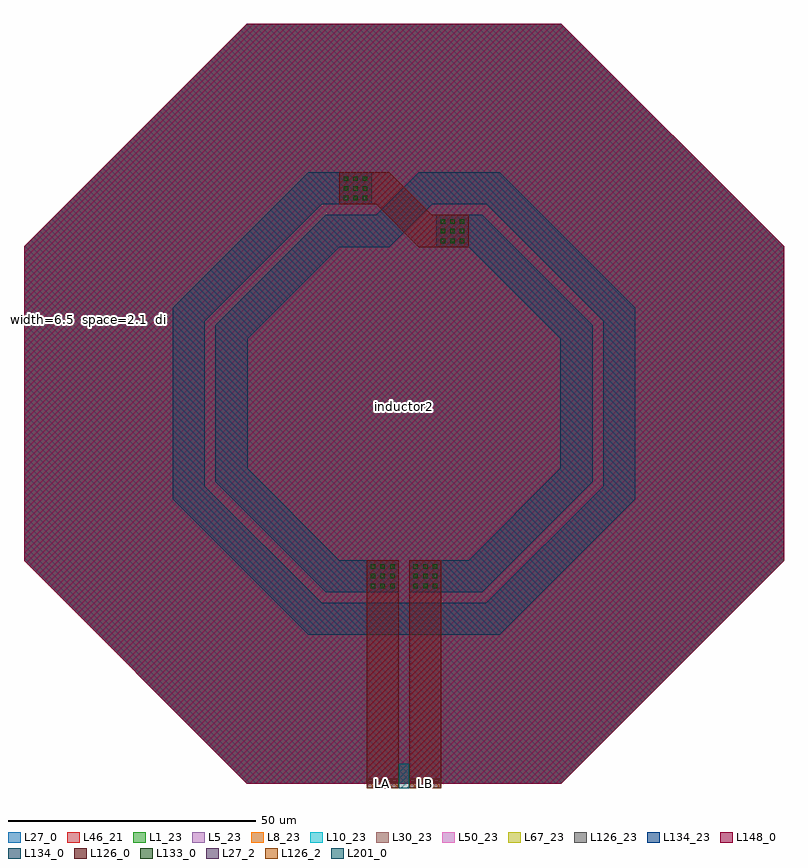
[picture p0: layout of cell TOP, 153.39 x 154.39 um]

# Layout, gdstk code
import gdstk
lib = gdstk.Library(unit=1e-6, precision=1e-09)
def R(c, l, rs):  # rectangles x0, y0, x1, y1
    for r in rs: c.add(gdstk.rectangle(r[:2], r[2:], *l))
def A(c, l, x, y, w, h, nx, ny, dx, dy):  # array of equal rectangles
    R(c, l, [(x+i*dx, y+j*dy, x+i*dx+w, y+j*dy+h) for i in range(nx) for j in range(ny)])
def P(c, l, *ps):  # polygons
    for p in ps: c.add(gdstk.Polygon(p, *l))
L1_23 = (1, 23)
L5_23 = (5, 23)
L8_23 = (8, 23)
L10_23 = (10, 23)
L27_0 = (27, 0)
L27_2 = (27, 2)
L30_23 = (30, 23)
L46_21 = (46, 21)
L50_23 = (50, 23)
L67_23 = (67, 23)
L126_0 = (126, 0)
L126_2 = (126, 2)
L126_23 = (126, 23)
L133_0 = (133, 0)
L134_0 = (134, 0)
L134_23 = (134, 23)
L148_0 = (148, 0)
L201_0 = (201, 0)

top = lib.new_cell('TOP')
P(top, L1_23, [(-32.015,-5.72),(-76.945,39.21),(-76.945,102.74),(-32.015,147.67),(31.515,147.67),(76.445,102.74),(76.445,39.21),(31.515,-5.72)])
P(top, L5_23, [(-32.015,-5.72),(-76.945,39.21),(-76.945,102.74),(-32.015,147.67),(31.515,147.67),(76.445,102.74),(76.445,39.21),(31.515,-5.72)])
P(top, L8_23, [(-32.015,-5.72),(-76.945,39.21),(-76.945,102.74),(-32.015,147.67),(31.515,147.67),(76.445,102.74),(76.445,39.21),(31.515,-5.72)])
P(top, L10_23, [(-32.015,-5.72),(-76.945,39.21),(-76.945,102.74),(-32.015,147.67),(31.515,147.67),(76.445,102.74),(76.445,39.21),(31.515,-5.72)])
P(top, L27_0, [(-32.015,-5.72),(-76.945,39.21),(-76.945,102.74),(-32.015,147.67),(31.515,147.67),(76.445,102.74),(76.445,39.21),(31.515,-5.72)])
R(top, L27_2, [(-7.8,-6.72,-1.3,-4.72), (0.8,-6.72,7.3,-4.72)])
P(top, L30_23, [(-32.015,-5.72),(-76.945,39.21),(-76.945,102.74),(-32.015,147.67),(31.515,147.67),(76.445,102.74),(76.445,39.21),(31.515,-5.72)])
P(top, L46_21, [(-32.015,-5.72),(-76.945,39.21),(-76.945,102.74),(-32.015,147.67),(31.515,147.67),(76.445,102.74),(76.445,39.21),(31.515,-5.72)])
P(top, L50_23, [(-32.015,-5.72),(-76.945,39.21),(-76.945,102.74),(-32.015,147.67),(31.515,147.67),(76.445,102.74),(76.445,39.21),(31.515,-5.72)])
P(top, L67_23, [(-32.015,-5.72),(-76.945,39.21),(-76.945,102.74),(-32.015,147.67),(31.515,147.67),(76.445,102.74),(76.445,39.21),(31.515,-5.72)])
P(top, L126_0, [(2.725,102.53),(-5.895,111.15),(-13.285,111.15),(-13.285,117.65),(-3.225,117.65),(5.395,109.03),(12.785,109.03),(12.785,102.53)])
R(top, L126_2, [(-7.8,-6.72,-1.3,-4.72), (0.8,-6.72,7.3,-4.72)])
P(top, L126_23, [(-32.015,-5.72),(-76.945,39.21),(-76.945,102.74),(-32.015,147.67),(31.515,147.67),(76.445,102.74),(76.445,39.21),(31.515,-5.72)])
A(top, L133_0, -6.96, 33.72, 0.9, 0.9, 3, 3, 1.96, 1.96)
A(top, L133_0, 1.64, 33.72, 0.9, 0.9, 3, 3, 1.96, 1.96)
A(top, L133_0, 7.125, 103.37, 0.9, 0.9, 3, 3, 1.96, 1.96)
A(top, L133_0, -12.445, 111.97, 0.9, 0.9, 3, 3, 1.96, 1.96)
R(top, L134_0, [(-6.785,24.28,6.285,30.78)])
P(top, L134_0, [(0.8,32.88),(0.8,39.38),(12.825,39.38),(31.325,57.88),(31.325,84.03),(12.825,102.53),(6.285,102.53),(6.285,109.03),(15.525,109.03),(37.825,86.73),(37.825,55.18),(15.525,32.88)],
  [(-16.025,32.88),(-38.325,55.18),(-38.325,86.73),(-16.025,109.03),(-6.785,109.03),(-6.785,102.53),(-13.325,102.53),(-31.825,84.03),(-31.825,57.88),(-13.325,39.38),(-1.3,39.38),(-1.3,32.88)],
  [(-6.785,102.53),(-6.785,109.03),(-5.895,109.03),(2.725,117.65),(6.285,117.65),(6.285,111.15),(5.425,111.15),(-3.195,102.53)],
  [(6.285,24.28),(6.285,30.78),(16.395,30.78),(39.935,54.32),(39.935,87.61),(16.395,111.15),(6.285,111.15),(6.285,117.65),(19.095,117.65),(46.435,90.31),(46.435,51.62),(19.095,24.28)],
  [(-19.595,24.28),(-46.935,51.62),(-46.935,90.31),(-19.595,117.65),(-6.785,117.65),(-6.785,111.15),(-16.895,111.15),(-40.435,87.61),(-40.435,54.32),(-16.895,30.78),(-6.785,30.78),(-6.785,24.28)])
P(top, L134_23, [(-32.015,-5.72),(-76.945,39.21),(-76.945,102.74),(-32.015,147.67),(31.515,147.67),(76.445,102.74),(76.445,39.21),(31.515,-5.72)])
P(top, L148_0, [(-32.015,-5.72),(-76.945,39.21),(-76.945,102.74),(-32.015,147.67),(31.515,147.67),(76.445,102.74),(76.445,39.21),(31.515,-5.72)])
R(top, L201_0, [(-1.3,-6.72,0.8,-1.72)])
top.add(gdstk.FlexPath([(4.05,-6.72),(4.05,39.38)], 6.5, ends="flush", simple_path=True, layer=126, datatype=0))  # L126_0
top.add(gdstk.FlexPath([(-4.55,-6.72),(-4.55,39.38)], 6.5, ends="flush", simple_path=True, layer=126, datatype=0))  # L126_0
top.add(gdstk.Label('inductor2', (-0.25,70.393), layer=63, texttype=0))
top.add(gdstk.Label('  width=6.5\n  space=2.1\n  diameter=63.15\n  turns=2', (-76.945,87.915), layer=63, texttype=0))
top.add(gdstk.Label('LB', (4.05,-5.72), layer=27, texttype=25))
top.add(gdstk.Label('LA', (-4.55,-5.72), layer=27, texttype=25))

lib.write_gds('TOP.gds')
